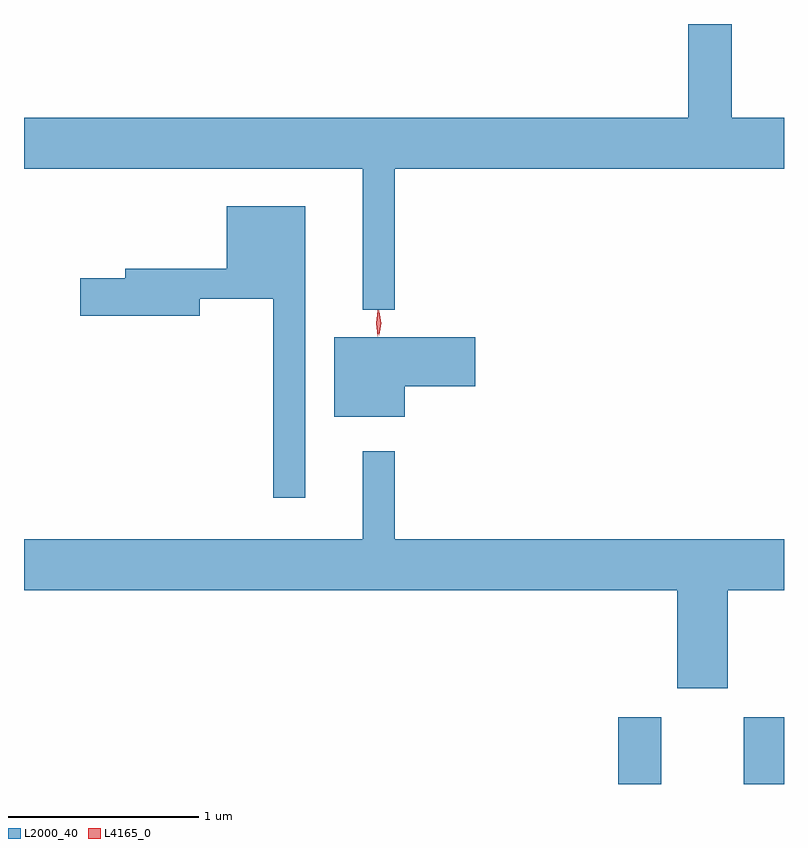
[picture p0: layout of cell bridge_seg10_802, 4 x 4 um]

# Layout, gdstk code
import gdstk
lib = gdstk.Library(unit=1e-6, precision=1e-09)
def R(c, l, rs):  # rectangles x0, y0, x1, y1
    for r in rs: c.add(gdstk.rectangle(r[:2], r[2:], *l))
def P(c, l, *ps):  # polygons
    for p in ps: c.add(gdstk.Polygon(p, *l))
L2000_40 = (2000, 40)
L4165_0 = (4165, 0)

bridge_seg10_802 = lib.new_cell('bridge_seg10_802')
R(bridge_seg10_802, L2000_40, [(392.736,2084.037,392.964,2084.389), (393.396,2084.037,393.609,2084.389)])
P(bridge_seg10_802, L2000_40, [(391.559,2087.276),(393.609,2087.276),(393.609,2087.544),(393.334,2087.544),(393.334,2088.037),(393.106,2088.037),(393.106,2087.544),(389.609,2087.544),(389.609,2087.276),(391.391,2087.276),(391.391,2086.533),(391.559,2086.533)],
  [(391.089,2087.079),(390.676,2087.079),(390.676,2086.749),(390.141,2086.749),(390.141,2086.699),(389.906,2086.699),(389.906,2086.501),(390.534,2086.501),(390.534,2086.591),(390.921,2086.591),(390.921,2085.543),(391.089,2085.543)],
  [(391.614,2086.131),(391.984,2086.131),(391.984,2086.389),(391.241,2086.389),(391.241,2085.971),(391.614,2085.971)],
  [(393.314,2085.056),(393.609,2085.056),(393.609,2085.324),(391.559,2085.324),(391.559,2085.788),(391.391,2085.788),(391.391,2085.324),(389.609,2085.324),(389.609,2085.056),(393.046,2085.056),(393.046,2084.541),(393.314,2084.541)])
P(bridge_seg10_802, L4165_0, [(391.471,2086.394),(391.471,2086.394),(391.462,2086.462),(391.472,2086.53),(391.473,2086.53),(391.473,2086.53),(391.482,2086.462),(391.472,2086.394)],
  [(391.478,2086.4),(391.478,2086.4),(391.468,2086.463),(391.478,2086.526),(391.478,2086.527),(391.478,2086.526),(391.488,2086.463),(391.478,2086.4)])

lib.write_gds('bridge_seg10_802.gds')
